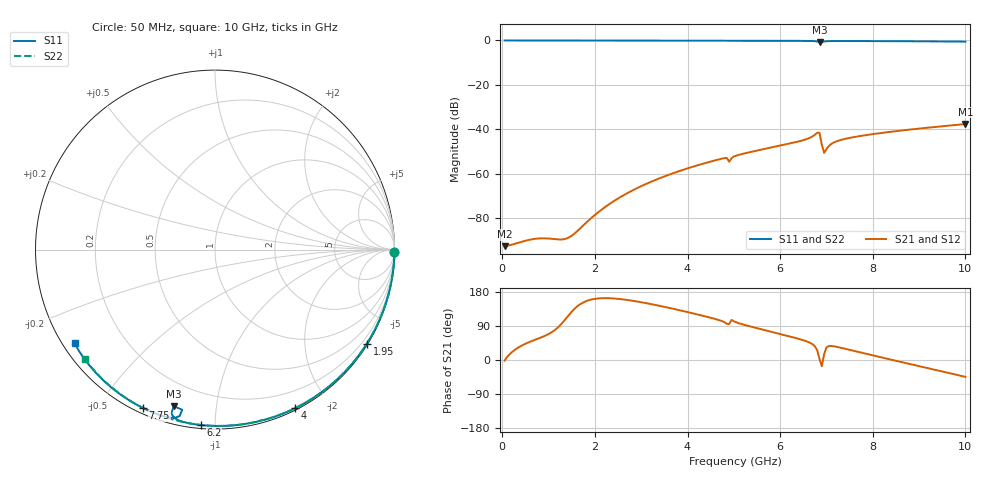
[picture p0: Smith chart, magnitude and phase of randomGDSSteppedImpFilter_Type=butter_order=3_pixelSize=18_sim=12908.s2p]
! freq	dB(S11)	phase(S11)	dB(S12)	phase(S12)
!  dB(S21)	phase(S21)	dB(S22)	phase(S22)
!S-par simulation data
#  GHz  S  DB  R 50
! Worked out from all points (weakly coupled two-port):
!   200 points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, 50 MHz to 10 GHz, reference 50 ohm
!   highest |S21| = -37.69 dB at 10 GHz (marker M1); lowest = -92.7 dB at 50 MHz (marker M2)
!   lowest |S11| = -0.9 dB at 6.85 GHz (marker M3), VSWR 19.40, Z = 4.1 - j38.4 ohm
!   |S11| at or under -10 dB: nowhere
!   |S22| runs from -0.5 to 0.0 dB; largest |S21 - S12| = 0
!   S11 on the Smith chart (normalised r, x): 50 MHz: open; 1.95 GHz: 0.03, -3.52; 4 GHz: 0.02, -1.62; 6.2 GHz: 0.02, -0.92; 7.75 GHz: 0.02, -0.64; 10 GHz: 0.03, -0.30
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0.05  -0.00 -0.8  -92.73 -1.8  -92.73 -1.8  -0.00 -0.8
0.85  -0.01 -14.0  -89.19 60.0  -89.19 60.0  -0.01 -13.7
1.75  -0.04 -28.5  -83.35 152.0  -83.35 152.0  -0.04 -28.0
1.95  -0.04 -31.7  -79.54 160.3  -79.54 160.3  -0.04 -31.1
2.55  -0.05 -41.2  -70.59 160.7  -70.59 160.7  -0.05 -40.4
3.4  -0.07 -54.3  -62.09 142.9  -62.09 142.9  -0.07 -53.2
4  -0.09 -63.3  -57.66 126.5  -57.66 126.5  -0.09 -62.0
4.8  -0.11 -74.9  -53.02 99.7  -53.02 99.7  -0.11 -73.4
4.85  -0.11 -75.6  -53.01 95.3  -53.01 95.3  -0.12 -74.1
4.9  -0.12 -76.4  -54.66 95.0  -54.66 95.0  -0.13 -74.7
4.95  -0.12 -77.1  -53.13 105.7  -53.13 105.7  -0.12 -75.4
5.05  -0.12 -78.5  -51.94 99.7  -51.94 99.7  -0.12 -76.8
6.2  -0.17 -94.7  -46.51 62.4  -46.51 62.4  -0.17 -92.3
6.7  -0.26 -102.5  -43.23 41.6  -43.23 41.6  -0.19 -98.9
6.85  -0.90 -104.8  -41.62 2.6  -41.62 2.6  -0.20 -100.8
6.9  -0.81 -101.6  -46.98 -16.4  -46.98 -16.4  -0.21 -101.5
6.95  -0.47 -102.0  -50.66 15.6  -50.66 15.6  -0.21 -102.1
7.05  -0.29 -104.2  -47.59 36.8  -47.59 36.8  -0.21 -103.4
7.15  -0.26 -106.0  -46.08 36.4  -46.08 36.4  -0.22 -104.6
7.75  -0.27 -114.5  -43.00 19.5  -43.00 19.5  -0.26 -112.2
8.35  -0.32 -122.5  -41.27 2.2  -41.27 2.2  -0.31 -119.6
10  -0.54 -146.4  -37.69 -44.4  -37.69 -44.4  -0.47 -139.8
